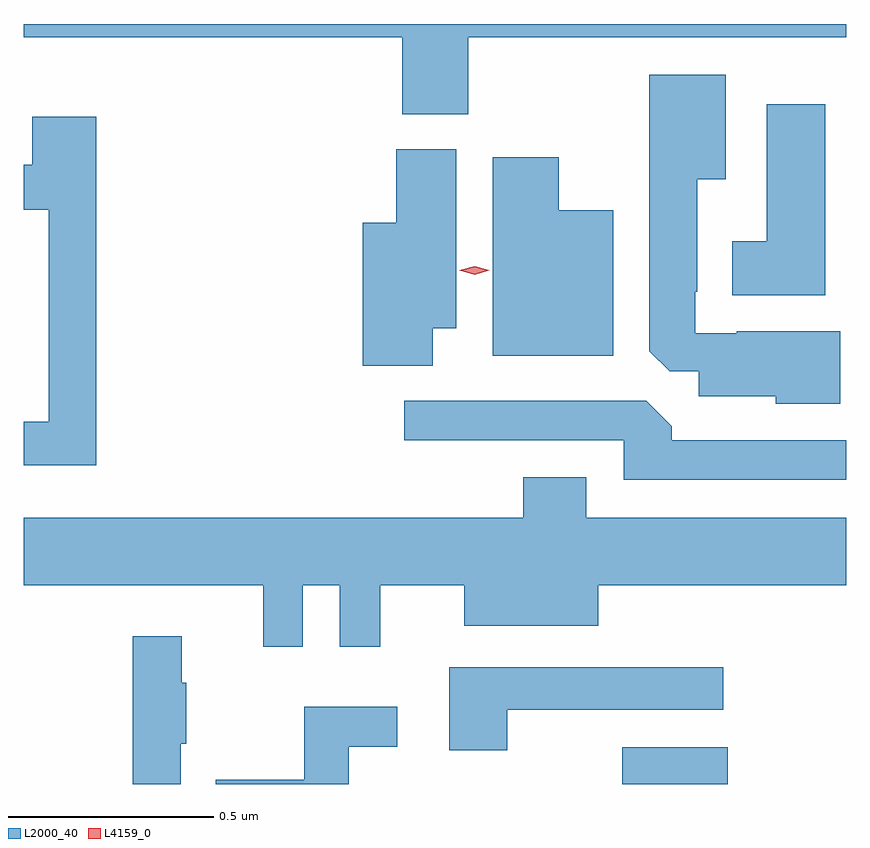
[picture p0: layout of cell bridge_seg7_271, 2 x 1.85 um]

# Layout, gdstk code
import gdstk
lib = gdstk.Library(unit=1e-6, precision=1e-09)
def R(c, l, rs):  # rectangles x0, y0, x1, y1
    for r in rs: c.add(gdstk.rectangle(r[:2], r[2:], *l))
def P(c, l, *ps):  # polygons
    for p in ps: c.add(gdstk.Polygon(p, *l))
L2000_40 = (2000, 40)
L4159_0 = (4159, 0)

bridge_seg7_271 = lib.new_cell('bridge_seg7_271')
R(bridge_seg7_271, L2000_40, [(151.913,1080.053,152.17,1080.142)])
P(bridge_seg7_271, L2000_40, [(151.539,1081.868),(152.458,1081.868),(152.458,1081.9),(150.458,1081.9),(150.458,1081.868),(151.379,1081.868),(151.379,1081.681),(151.539,1081.681)],
  [(152.443,1081.153),(152.191,1081.153),(152.191,1081.149),(152.091,1081.149),(152.091,1081.249),(152.095,1081.249),(152.095,1081.523),(152.164,1081.523),(152.164,1081.777),(151.979,1081.777),(151.979,1081.105),(152.028,1081.056),(152.099,1081.056),(152.099,1080.995),(152.286,1080.995),(152.286,1080.977),(152.443,1080.977)],
  [(152.407,1081.705),(152.264,1081.705),(152.264,1081.372),(152.18,1081.372),(152.18,1081.241),(152.407,1081.241)],
  [(150.635,1081.675),(150.479,1081.675),(150.479,1081.558),(150.458,1081.558),(150.458,1081.449),(150.519,1081.449),(150.519,1080.933),(150.458,1080.933),(150.458,1080.828),(150.635,1080.828)],
  [(151.453,1081.16),(151.51,1081.16),(151.51,1081.596),(151.364,1081.596),(151.364,1081.417),(151.283,1081.417),(151.283,1081.069),(151.453,1081.069)],
  [(151.891,1081.447),(151.759,1081.447),(151.759,1081.576),(151.598,1081.576),(151.598,1081.094),(151.891,1081.094)],
  [(152.458,1080.888),(152.033,1080.888),(152.033,1080.922),(151.971,1080.984),(151.383,1080.984),(151.383,1080.888),(151.917,1080.888),(151.917,1080.792),(152.458,1080.792)],
  [(151.137,1080.536),(151.227,1080.536),(151.227,1080.387),(151.325,1080.387),(151.325,1080.536),(151.529,1080.536),(151.529,1080.437),(151.855,1080.437),(151.855,1080.536),(152.458,1080.536),(152.458,1080.7),(151.825,1080.7),(151.825,1080.799),(151.673,1080.799),(151.673,1080.7),(150.458,1080.7),(150.458,1080.536),(151.04,1080.536),(151.04,1080.387),(151.137,1080.387)],
  [(150.84,1080.151),(150.853,1080.151),(150.853,1080.299),(150.842,1080.299),(150.842,1080.412),(150.724,1080.412),(150.724,1080.053),(150.84,1080.053)],
  [(151.633,1080.233),(152.158,1080.233),(152.158,1080.337),(151.493,1080.337),(151.493,1080.135),(151.633,1080.135)],
  [(151.248,1080.144),(151.366,1080.144),(151.366,1080.241),(151.14,1080.241),(151.14,1080.063),(150.925,1080.063),(150.925,1080.053),(151.248,1080.053)])
P(bridge_seg7_271, L4159_0, [(151.554,1081.291),(151.517,1081.301),(151.517,1081.301),(151.517,1081.302),(151.554,1081.311),(151.59,1081.302),(151.59,1081.302),(151.59,1081.301)])

lib.write_gds('bridge_seg7_271.gds')
